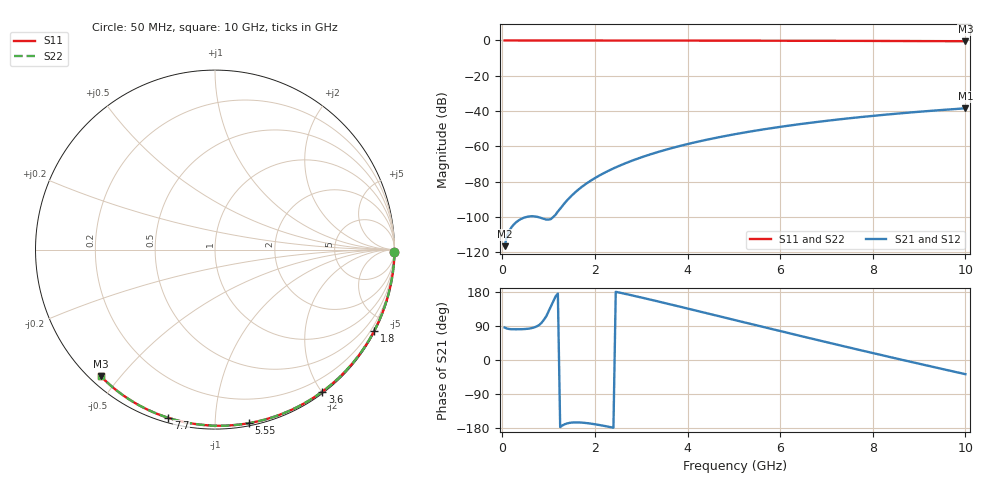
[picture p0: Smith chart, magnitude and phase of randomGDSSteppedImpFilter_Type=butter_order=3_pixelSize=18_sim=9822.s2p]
! freq	dB(S11)	phase(S11)	dB(S12)	phase(S12)
!  dB(S21)	phase(S21)	dB(S22)	phase(S22)
!S-par simulation data
#  GHz  S  DB  R 50
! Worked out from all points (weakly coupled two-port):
!   200 points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, 50 MHz to 10 GHz, reference 50 ohm
!   highest |S21| = -38.45 dB at 10 GHz (marker M1); lowest = -116.6 dB at 50 MHz (marker M2)
!   lowest |S11| = -0.4 dB at 10 GHz (marker M3), VSWR 38.91, Z = 1.54 - j22.2 ohm
!   |S11| at or under -10 dB: nowhere
!   |S22| runs from -0.4 to 0.0 dB; largest |S21 - S12| = 0
!   S11 on the Smith chart (normalised r, x): 50 MHz: open; 1.8 GHz: 0.04, -4.16; 3.6 GHz: 0.02, -2.01; 5.55 GHz: 0.02, -1.21; 7.7 GHz: 0.02, -0.76; 10 GHz: 0.03, -0.44
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0.05  -0.00 -0.8  -116.58 85.7  -116.58 85.7  -0.00 -0.8
0.9  -0.02 -13.7  -101.16 106.4  -101.16 106.4  -0.02 -13.7
1.75  -0.03 -26.3  -82.33 -165.5  -82.33 -165.5  -0.03 -26.3
1.8  -0.03 -27.1  -81.38 -166.1  -81.38 -166.1  -0.03 -27.1
1.85  -0.04 -27.8  -80.48 -166.9  -80.48 -166.9  -0.04 -27.8
1.9  -0.04 -28.5  -79.61 -167.7  -79.61 -167.7  -0.04 -28.5
2.05  -0.04 -30.7  -77.22 -170.5  -77.22 -170.5  -0.04 -30.7
2.25  -0.04 -33.7  -74.40 -175.0  -74.40 -175.0  -0.04 -33.7
2.45  -0.05 -36.6  -71.91 180.0  -71.91 180.0  -0.05 -36.6
2.65  -0.05 -39.4  -69.68 174.7  -69.68 174.7  -0.05 -39.4
3  -0.06 -44.5  -66.26 165.0  -66.26 165.0  -0.06 -44.5
3.4  -0.07 -50.1  -62.91 153.5  -62.91 153.5  -0.07 -50.1
3.6  -0.07 -52.9  -61.42 147.7  -61.42 147.7  -0.07 -52.9
4.3  -0.09 -62.5  -56.91 126.9  -56.91 126.9  -0.09 -62.5
5.05  -0.11 -72.5  -52.99 104.6  -52.99 104.6  -0.11 -72.5
5.55  -0.13 -79.0  -50.76 89.7  -50.76 89.7  -0.13 -79.0
6.1  -0.15 -86.0  -48.59 73.4  -48.59 73.4  -0.15 -86.0
6.7  -0.18 -93.5  -46.50 55.8  -46.50 55.8  -0.18 -93.5
7.7  -0.24 -105.5  -43.52 26.9  -43.52 26.9  -0.24 -105.5
8.35  -0.29 -113.1  -41.87 8.4  -41.87 8.4  -0.29 -113.1
9.15  -0.36 -122.4  -40.09 -14.0  -40.09 -14.0  -0.36 -122.4
10  -0.45 -132.1  -38.45 -37.4  -38.45 -37.4  -0.45 -132.1
